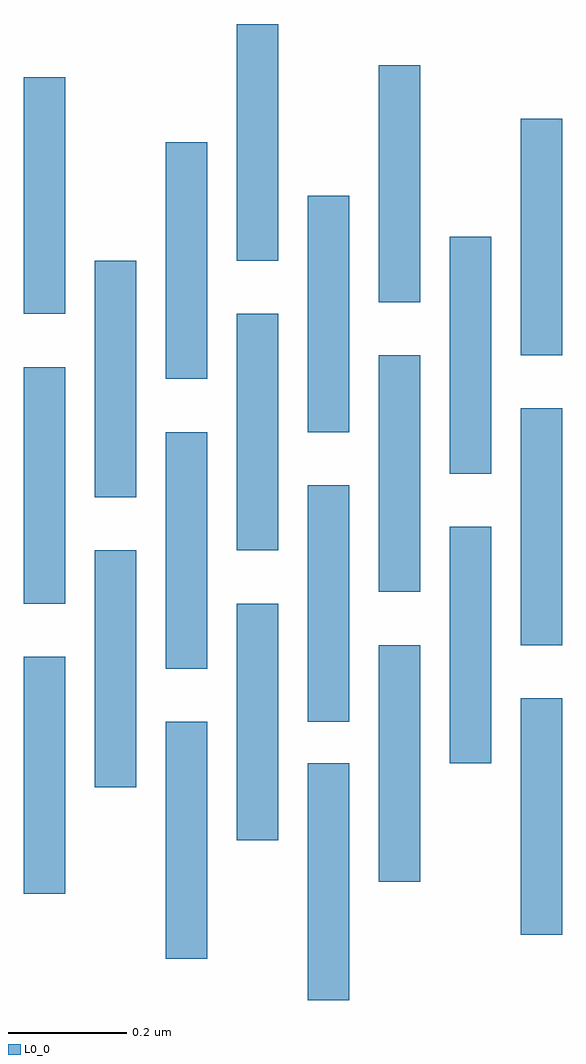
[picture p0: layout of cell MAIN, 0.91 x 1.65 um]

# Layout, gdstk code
import gdstk
lib = gdstk.Library(unit=1e-6, precision=1e-09)
def R(c, l, rs):  # rectangles x0, y0, x1, y1
    for r in rs: c.add(gdstk.rectangle(r[:2], r[2:], *l))
L0_0 = (0, 0)

cell_b = lib.new_cell('CELL_B')
R(cell_b, L0_0, [(0,0,0.07,0.4)])

main = lib.new_cell('MAIN')
main.add(gdstk.Reference(cell_b, (0,-0.155)))
main.add(gdstk.Reference(cell_b, (0,0.335)))
main.add(gdstk.Reference(cell_b, (0,0.825)))
main.add(gdstk.Reference(cell_b, (0.12,0.025)))
main.add(gdstk.Reference(cell_b, (0.12,0.515)))
main.add(gdstk.Reference(cell_b, (0.24,-0.265)))
main.add(gdstk.Reference(cell_b, (0.24,0.225)))
main.add(gdstk.Reference(cell_b, (0.24,0.715)))
main.add(gdstk.Reference(cell_b, (0.36,-0.065)))
main.add(gdstk.Reference(cell_b, (0.36,0.425)))
main.add(gdstk.Reference(cell_b, (0.36,0.915)))
main.add(gdstk.Reference(cell_b, (0.48,-0.335)))
main.add(gdstk.Reference(cell_b, (0.48,0.135)))
main.add(gdstk.Reference(cell_b, (0.48,0.625)))
main.add(gdstk.Reference(cell_b, (0.6,-0.135)))
main.add(gdstk.Reference(cell_b, (0.6,0.355)))
main.add(gdstk.Reference(cell_b, (0.6,0.845)))
main.add(gdstk.Reference(cell_b, (0.72,0.065)))
main.add(gdstk.Reference(cell_b, (0.72,0.555)))
main.add(gdstk.Reference(cell_b, (0.84,-0.225)))
main.add(gdstk.Reference(cell_b, (0.84,0.265)))
main.add(gdstk.Reference(cell_b, (0.84,0.755)))

lib.write_gds('MAIN.gds')
